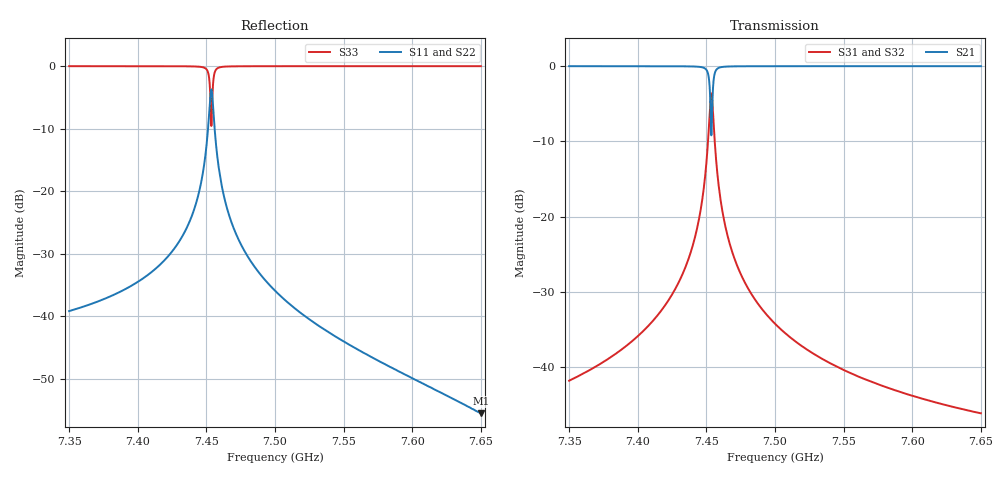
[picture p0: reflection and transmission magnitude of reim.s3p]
! Sonnet Data File
! From: emgraph Version : 16.54
! From Emgraph Data: ReadoutResonator_9
! Data File Written: 09/13/2017 12:27:09
!< HDATE 09/12/2017 16:59:21
!< MDATE 09/12/2017 16:59:21
!< PARAMS
!< sep = 7.5
!< len = 3425.0
!< END PARAMS
# GHZ S RI R 50.00000
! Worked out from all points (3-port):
!   897 points, 7.35 GHz to 7.65 GHz, reference 50 ohm
!   strongest paths, dB at 7.35 GHz, 7.4561 GHz, 7.4591 GHz, 7.474 GHz, 7.65 GHz:
!     S21: 0.0, -1.0, -0.2, 0.0, 0.0
!     S31: -41.8, -10.0, -16.1, -27.2, -46.2
!     S32: -41.8, -10.0, -16.1, -27.2, -46.2
!   lowest |S11| = -55.5 dB at 7.65 GHz (marker M1), VSWR 1.00, Z = 49.9 - j0.153 ohm
!   |S11| at or under -10 dB: start of sweep to 7.4512 GHz; 7.456 GHz to end of sweep
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7.35  0.00382 0.0104  0.9345 -0.3556  0.00719 -0.00374
      0.9345 -0.3556  0.0041 0.0103  -0.00718 0.00376
      0.00719 -0.00374  -0.00718 0.00376  0.8319 -0.5548
7.43  0.0156 0.0362  0.9213 -0.385  0.0318 -0.0186
      0.9213 -0.385  0.0161 0.036  -0.0317 0.0187
      0.0318 -0.0186  -0.0317 0.0187  0.8103 -0.5837
7.443932  0.0431 0.0808  0.8935 -0.4301  0.0733 -0.0513
          0.8935 -0.4301  0.0438 0.0804  -0.0732 0.0515
          0.0733 -0.0513  -0.0732 0.0515  0.772 -0.6227
7.451522  0.2782 0.2132  0.6578 -0.5621  0.1791 -0.3026
          0.6578 -0.5621  0.2797 0.2113  -0.1782 0.3031
          0.1791 -0.3026  -0.1782 0.3031  0.507 -0.7005
7.453741  0.5912 -0.273  0.3463 -0.0752  -0.345 -0.5609
          0.3463 -0.0752  0.5896 -0.2766  0.3467 0.5598
          -0.345 -0.5609  0.3467 0.5598  0.308 -0.1446
7.454644  0.2799 -0.438  0.6581 0.0889  -0.4749 -0.2292
          0.6581 0.0889  0.2774 -0.4397  0.4755 0.2278
          -0.4749 -0.2292  0.4755 0.2278  0.6559 -0.0525
7.456088  0.044 -0.3067  0.8936 -0.0432  -0.3159 -0.0075
          0.8936 -0.0432  0.0423 -0.307  0.3158 0.00654
          -0.3159 -0.0075  0.3158 0.00654  0.8602 -0.2378
7.467061  -0.0158 -0.0598  0.9524 -0.2908  -0.0611 0.0241
          0.9524 -0.2908  -0.016 -0.0598  0.061 -0.0243
          -0.0611 0.0241  0.061 -0.0243  0.862 -0.4981
7.5  -0.0053 -0.0152  0.9412 -0.3368  -0.0175 0.00841
     0.9412 -0.3368  -0.00517 -0.0152  0.0174 -0.00846
     -0.0175 0.00841  0.0174 -0.00846  0.8396 -0.5425
7.65  -0.000703 -0.00153  0.934 -0.3572  -0.00436 0.00227
      0.934 -0.3572  -0.000473 -0.00161  0.00435 -0.00229
      -0.00436 0.00227  0.00435 -0.00229  0.8242 -0.5662
